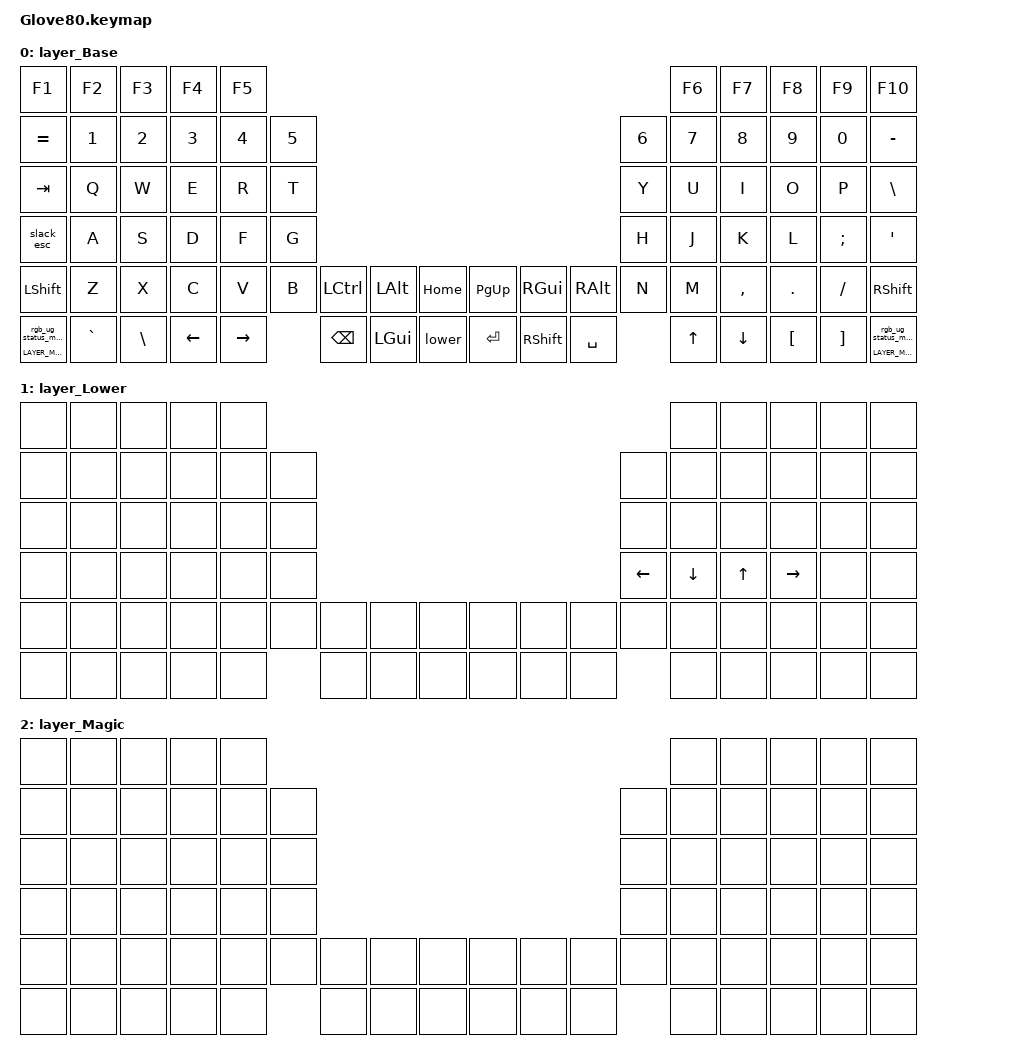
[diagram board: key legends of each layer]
/*
 * Copyright (c) 2020 The ZMK Contributors
 * Copyright (c) 2025 Innaworks Development Limited, trading as MoErgo
 *
 * SPDX-License-Identifier: MIT
 */


/* THIS FILE WAS GENERATED BY GLOVE80 LAYOUT EDITOR
 *
 * This file was generated automatically. You may or may not want to
 * edit it directly.
 */

#include <behaviors.dtsi>
/* Include all behavior includes needed */
#include <dt-bindings/zmk/outputs.h>
#include <dt-bindings/zmk/keys.h>
#include <dt-bindings/zmk/bt.h>
#include <dt-bindings/zmk/rgb.h>

/* On demand includes */


/* Helper Macros, based on https://github.com/urob/zmk-helpers/ */

#pragma once

#define ZMK_HELPER_STRINGIFY(x) #x

// Preprocessor mechanism to overload macros, cf. https://stackoverflow.com/a/27051616/6114651
#define VARGS_(_10, _9, _8, _7, _6, _5, _4, _3, _2, _1, N, ...) N
#define VARGS(...) VARGS_(__VA_ARGS__, 10, 9, 8, 7, 6, 5, 4, 3, 2, 1, 0)
#define CONCAT_(a, b) a##b
#define CONCAT(a, b) CONCAT_(a, b)

#define ZMK_BEHAVIOR_CORE_tap_dance  \
    compatible = "zmk,behavior-tap-dance"; \
    #binding-cells = <0>

#define ZMK_BEHAVIOR(name, type, ...) \
    name: name { \
        ZMK_BEHAVIOR_CORE_ ## type; \
        __VA_ARGS__ \
    };

#define ZMK_TAP_DANCE(name, ...) \
    ZMK_BEHAVIOR(name, tap_dance, __VA_ARGS__)

#define ZMK_TD_LAYER(name, layer) \
    ZMK_TAP_DANCE(name, \
        tapping-term-ms = <200>; \
        bindings = <&mo layer>, <&to layer>; \
)

/* Automatically generated layer name #define */
#define LAYER_Base 0
#define LAYER_Lower 1
#define LAYER_Magic 2

/* To deal with the situation where there is no Lower layer, to keep &lower happy */
#ifndef LAYER_Lower
#define LAYER_Lower 0
#endif

/* Custom Device-tree */


/* Input Listeners */


/* System behavior and Macros */
/ {
    behaviors {
        ZMK_TD_LAYER(lower, LAYER_Lower)
    };
};

/ {
    macros {
        rgb_ug_status_macro: rgb_ug_status_macro {
            label = "RGB_UG_STATUS";
            compatible = "zmk,behavior-macro";
            #binding-cells = <0>;
            bindings
                = <&rgb_ug RGB_STATUS>;
        };
    };
};


/ {
#ifdef BT_DISC_CMD
    behaviors {
        bt_0: bt_0 {
            compatible = "zmk,behavior-tap-dance";
            label = "BT_0";
            #binding-cells = <0>;
            tapping-term-ms = <200>;
            bindings = <&bt_select_0>, <&bt BT_DISC 0>;
        };
        bt_1: bt_1 {
            compatible = "zmk,behavior-tap-dance";
            label = "BT_1";
            #binding-cells = <0>;
            tapping-term-ms = <200>;
            bindings = <&bt_select_1>, <&bt BT_DISC 1>;
        };
        bt_2: bt_2 {
            compatible = "zmk,behavior-tap-dance";
            label = "BT_2";
            #binding-cells = <0>;
            tapping-term-ms = <200>;
            bindings = <&bt_select_2>, <&bt BT_DISC 2>;
        };
        bt_3: bt_3 {
            compatible = "zmk,behavior-tap-dance";
            label = "BT_3";
            #binding-cells = <0>;
            tapping-term-ms = <200>;
            bindings = <&bt_select_3>, <&bt BT_DISC 3>;
        };
    };
    macros {
        bt_select_0: bt_select_0 {
            label = "BT_SELECT_0";
            compatible = "zmk,behavior-macro";
            #binding-cells = <0>;
            bindings
                = <&out OUT_BLE>,
                  <&bt BT_SEL 0>;
        };
        bt_select_1: bt_select_1 {
            label = "BT_SELECT_1";
            compatible = "zmk,behavior-macro";
            #binding-cells = <0>;
            bindings
                = <&out OUT_BLE>,
                  <&bt BT_SEL 1>;
        };
        bt_select_2: bt_select_2 {
            label = "BT_SELECT_2";
            compatible = "zmk,behavior-macro";
            #binding-cells = <0>;
            bindings
                = <&out OUT_BLE>,
                  <&bt BT_SEL 2>;
        };
        bt_select_3: bt_select_3 {
            label = "BT_SELECT_3";
            compatible = "zmk,behavior-macro";
            #binding-cells = <0>;
            bindings
                = <&out OUT_BLE>,
                  <&bt BT_SEL 3>;
        };
    };
#else
    macros {
        bt_0: bt_0 {
            label = "BT_0";
            compatible = "zmk,behavior-macro";
            #binding-cells = <0>;
            bindings
                = <&out OUT_BLE>,
                  <&bt BT_SEL 0>;
        };
        bt_1: bt_1 {
            label = "BT_1";
            compatible = "zmk,behavior-macro";
            #binding-cells = <0>;
            bindings
                = <&out OUT_BLE>,
                  <&bt BT_SEL 1>;
        };
        bt_2: bt_2 {
            label = "BT_2";
            compatible = "zmk,behavior-macro";
            #binding-cells = <0>;
            bindings
                = <&out OUT_BLE>,
                  <&bt BT_SEL 2>;
        };
        bt_3: bt_3 {
            label = "BT_3";
            compatible = "zmk,behavior-macro";
            #binding-cells = <0>;
            bindings
                = <&out OUT_BLE>,
                  <&bt BT_SEL 3>;
        };
    };
#endif
};

/ {
    behaviors {
        magic: magic {
            compatible = "zmk,behavior-hold-tap";
            label = "MAGIC_HOLD_TAP";
            #binding-cells = <2>;
            flavor = "tap-preferred";
            tapping-term-ms = <200>;
            bindings = <&mo>, <&rgb_ug_status_macro>;
        };
    };
};


/* Key positions */

#define POS_LH_C6R1 0
#define POS_LH_C5R1 1
#define POS_LH_C4R1 2
#define POS_LH_C3R1 3
#define POS_LH_C2R1 4
#define POS_RH_C2R1 5
#define POS_RH_C3R1 6
#define POS_RH_C4R1 7
#define POS_RH_C5R1 8
#define POS_RH_C6R1 9
#define POS_LH_C6R2 10
#define POS_LH_C5R2 11
#define POS_LH_C4R2 12
#define POS_LH_C3R2 13
#define POS_LH_C2R2 14
#define POS_LH_C1R2 15
#define POS_RH_C1R2 16
#define POS_RH_C2R2 17
#define POS_RH_C3R2 18
#define POS_RH_C4R2 19
#define POS_RH_C5R2 20
#define POS_RH_C6R2 21
#define POS_LH_C6R3 22
#define POS_LH_C5R3 23
#define POS_LH_C4R3 24
#define POS_LH_C3R3 25
#define POS_LH_C2R3 26
#define POS_LH_C1R3 27
#define POS_RH_C1R3 28
#define POS_RH_C2R3 29
#define POS_RH_C3R3 30
#define POS_RH_C4R3 31
#define POS_RH_C5R3 32
#define POS_RH_C6R3 33
#define POS_LH_C6R4 34
#define POS_LH_C5R4 35
#define POS_LH_C4R4 36
#define POS_LH_C3R4 37
#define POS_LH_C2R4 38
#define POS_LH_C1R4 39
#define POS_RH_C1R4 40
#define POS_RH_C2R4 41
#define POS_RH_C3R4 42
#define POS_RH_C4R4 43
#define POS_RH_C5R4 44
#define POS_RH_C6R4 45
#define POS_LH_C6R5 46
#define POS_LH_C5R5 47
#define POS_LH_C4R5 48
#define POS_LH_C3R5 49
#define POS_LH_C2R5 50
#define POS_LH_C1R5 51
#define POS_LH_T1 52
#define POS_LH_T2 53
#define POS_LH_T3 54
#define POS_RH_T3 55
#define POS_RH_T2 56
#define POS_RH_T1 57
#define POS_RH_C1R5 58
#define POS_RH_C2R5 59
#define POS_RH_C3R5 60
#define POS_RH_C4R5 61
#define POS_RH_C5R5 62
#define POS_RH_C6R5 63
#define POS_LH_C6R6 64
#define POS_LH_C5R6 65
#define POS_LH_C4R6 66
#define POS_LH_C3R6 67
#define POS_LH_C2R6 68
#define POS_LH_T4 69
#define POS_LH_T5 70
#define POS_LH_T6 71
#define POS_RH_T6 72
#define POS_RH_T5 73
#define POS_RH_T4 74
#define POS_RH_C2R6 75
#define POS_RH_C3R6 76
#define POS_RH_C4R6 77
#define POS_RH_C5R6 78
#define POS_RH_C6R6 79


/* Custom Defined Behaviors */
/ {

behaviors {
        slack_esc: slack_esc {
            compatible = "zmk,behavior-mod-morph";
            #binding-cells = <0>;
            bindings = <&kp ESC>, <&kp ESC>;
            mods = <(MOD_LSFT|MOD_RSFT)>;
        };
    };
};

/* Generated input processors */


/* Automatically generated macro definitions */
/ {
    macros {

    };
};

/* Automatically generated behavior definitions */
/ {
    behaviors {


    };
};

/* Automatically generated combos definitions */


/* Automatically generated keymap */
/ {
    keymap {
        compatible = "zmk,keymap";


        layer_Base {
            bindings = <
               &kp F1     &kp F2    &kp F3    &kp F4     &kp F5                                                                                  &kp F6     &kp F7    &kp F8    &kp F9               &kp F10
            &kp EQUAL     &kp N1    &kp N2    &kp N3     &kp N4  &kp N5                                                                  &kp N6  &kp N7     &kp N8    &kp N9    &kp N0             &kp MINUS
              &kp TAB      &kp Q     &kp W     &kp E      &kp R   &kp T                                                                   &kp Y   &kp U      &kp I     &kp O     &kp P              &kp BSLH
           &slack_esc      &kp A     &kp S     &kp D      &kp F   &kp G                                                                   &kp H   &kp J      &kp K     &kp L  &kp SEMI               &kp SQT
            &kp LSHFT      &kp Z     &kp X     &kp C      &kp V   &kp B  &kp LCTRL  &kp LALT  &kp HOME  &kp PG_UP   &kp RGUI   &kp RALT   &kp N   &kp M  &kp COMMA   &kp DOT  &kp FSLH             &kp RSHFT
 &magic LAYER_Magic 0  &kp GRAVE  &kp BSLH  &kp LEFT  &kp RIGHT           &kp BSPC  &kp LGUI    &lower    &kp RET  &kp RSHFT  &kp SPACE          &kp UP   &kp DOWN  &kp LBKT  &kp RBKT  &magic LAYER_Magic 0
            >;
        };

        layer_Lower {
            bindings = <
  &none   &none   &none   &none   &none                                                                       &none   &none      &none   &none   &none
  &none   &none   &none   &none   &none   &none                                                     &none     &none   &none      &none   &none   &none
  &none   &none   &none   &none   &none   &none                                                     &none     &none   &none      &none   &none   &none
  &none   &none   &none   &none   &none   &none                                                  &kp LEFT  &kp DOWN  &kp UP  &kp RIGHT   &none   &none
  &none   &none   &none   &none   &none   &none   &none   &none   &none   &none   &none   &none     &none     &none   &none      &none   &none   &none
  &none   &none   &none   &none   &none           &none   &none   &none   &none   &none   &none               &none   &none      &none   &none   &none
            >;
        };

        layer_Magic {
            bindings = <
  &none   &none   &none   &none   &none                                                                   &none   &none   &none   &none   &none
  &none   &none   &none   &none   &none   &none                                                   &none   &none   &none   &none   &none   &none
  &none   &none   &none   &none   &none   &none                                                   &none   &none   &none   &none   &none   &none
  &none   &none   &none   &none   &none   &none                                                   &none   &none   &none   &none   &none   &none
  &none   &none   &none   &none   &none   &none   &none   &none   &none   &none   &none   &none   &none   &none   &none   &none   &none   &none
  &none   &none   &none   &none   &none           &none   &none   &none   &none   &none   &none           &none   &none   &none   &none   &none
            >;
        };

    };
};
